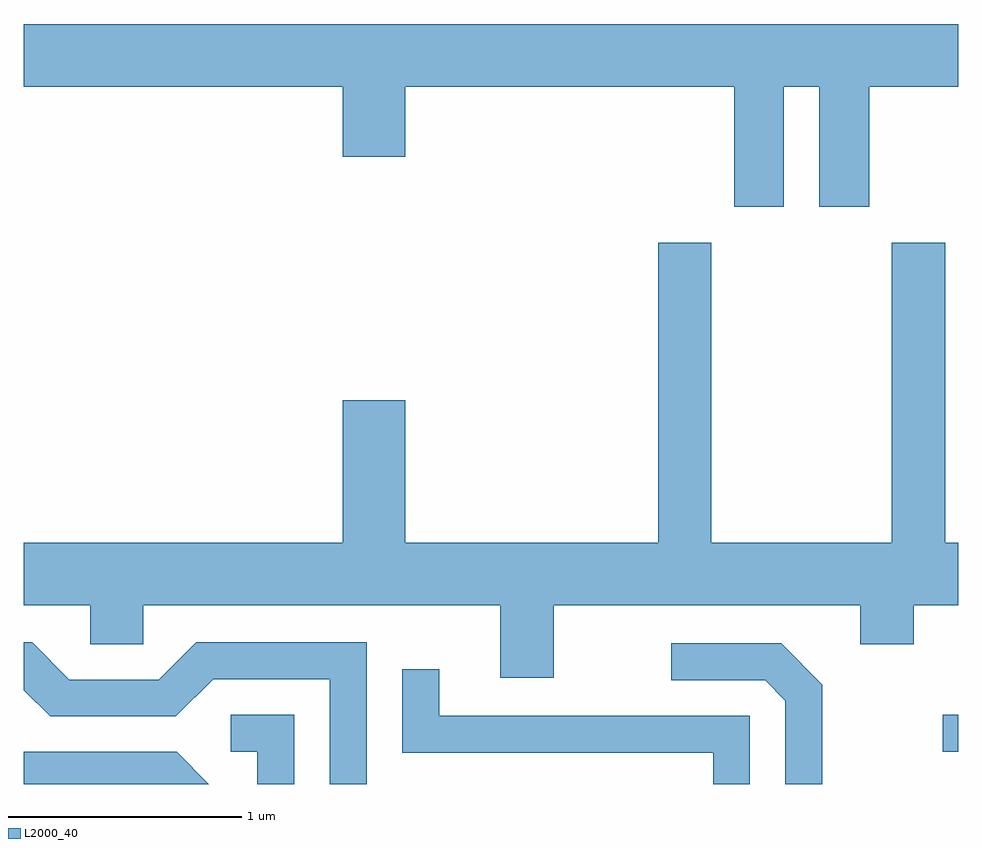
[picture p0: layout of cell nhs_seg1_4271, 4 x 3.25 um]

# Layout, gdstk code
import gdstk
lib = gdstk.Library(unit=1e-6, precision=1e-09)
def R(c, l, rs):  # rectangles x0, y0, x1, y1
    for r in rs: c.add(gdstk.rectangle(r[:2], r[2:], *l))
def P(c, l, *ps):  # polygons
    for p in ps: c.add(gdstk.Polygon(p, *l))
L2000_40 = (2000, 40)

nhs_seg1_4271 = lib.new_cell('nhs_seg1_4271')
R(nhs_seg1_4271, L2000_40, [(317.543,887.851,317.611,888.009)])
P(nhs_seg1_4271, L2000_40, [(316.864,890.696),(317.016,890.696),(317.016,890.181),(317.229,890.181),(317.229,890.696),(317.611,890.696),(317.611,890.964),(313.611,890.964),(313.611,890.696),(314.976,890.696),(314.976,890.396),(315.244,890.396),(315.244,890.696),(316.651,890.696),(316.651,890.181),(316.864,890.181)],
  [(315.879,888.476),(317.191,888.476),(317.191,888.311),(317.419,888.311),(317.419,888.476),(317.611,888.476),(317.611,888.744),(317.554,888.744),(317.554,890.029),(317.326,890.029),(317.326,888.744),(316.554,888.744),(316.554,890.029),(316.326,890.029),(316.326,888.744),(315.244,888.744),(315.244,889.354),(314.976,889.354),(314.976,888.744),(313.611,888.744),(313.611,888.476),(313.896,888.476),(313.896,888.311),(314.124,888.311),(314.124,888.476),(315.651,888.476),(315.651,888.166),(315.879,888.166)],
  [(315.079,888.319),(314.349,888.319),(314.189,888.159),(313.807,888.159),(313.647,888.319),(313.611,888.319),(313.611,888.114),(313.724,888.001),(314.262,888.001),(314.422,888.161),(314.921,888.161),(314.921,887.712),(315.079,887.712)],
  [(317.029,888.137),(316.852,888.314),(316.383,888.314),(316.383,888.156),(316.784,888.156),(316.871,888.069),(316.871,887.712),(317.029,887.712)],
  [(316.719,888.004),(315.389,888.004),(315.389,888.203),(315.231,888.203),(315.231,887.846),(316.561,887.846),(316.561,887.712),(316.719,887.712)],
  [(314.769,888.009),(314.498,888.009),(314.498,887.851),(314.611,887.851),(314.611,887.712),(314.769,887.712)],
  [(314.267,887.849),(313.611,887.849),(313.611,887.712),(314.404,887.712)])

lib.write_gds('nhs_seg1_4271.gds')
